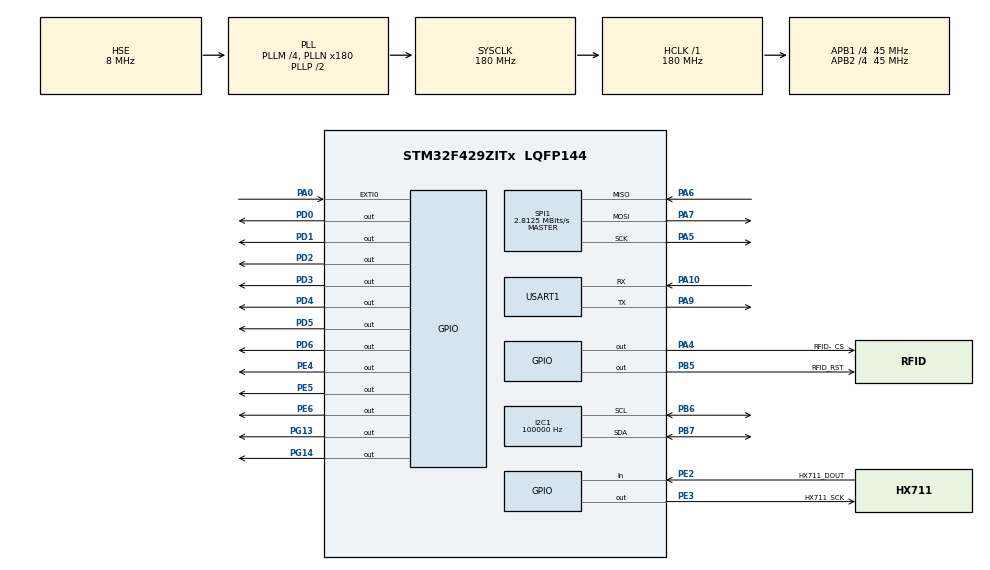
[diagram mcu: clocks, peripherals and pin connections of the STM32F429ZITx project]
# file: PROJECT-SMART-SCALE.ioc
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I2C1.ClockSpeed=100000
I2C1.I2C_Mode=I2C_Fast
Mcu.Family=STM32F4
Mcu.Name=STM32F429ZITx
Mcu.Package=LQFP144
NVIC.PriorityGroup=NVIC_PRIORITYGROUP_4
NVIC.TIM6_DAC_IRQn=true\:0\:0\:false\:false\:true\:true\:true\:true
PA0/WKUP.Signal=GPXTI0
PA10.Mode=Asynchronous
PA10.Signal=USART1_RX
PA4.GPIO_Label=RFID-_CS
PA4.GPIO_Speed=GPIO_SPEED_FREQ_HIGH
PA4.PinState=GPIO_PIN_SET
PA4.Signal=GPIO_Output
PA5.Mode=Full_Duplex_Master
PA5.Signal=SPI1_SCK
PA6.Mode=Full_Duplex_Master
PA6.Signal=SPI1_MISO
PA7.Mode=Full_Duplex_Master
PA7.Signal=SPI1_MOSI
PA9.Mode=Asynchronous
PA9.Signal=USART1_TX
PB5.GPIO_Label=RFID_RST
PB5.PinState=GPIO_PIN_SET
PB5.Signal=GPIO_Output
PB6.GPIO_Pu=GPIO_PULLUP
PB6.Mode=I2C
PB6.Signal=I2C1_SCL
PB7.GPIO_Pu=GPIO_PULLUP
PB7.Mode=I2C
PB7.Signal=I2C1_SDA
PD0.GPIO_Speed=GPIO_SPEED_FREQ_HIGH
PD0.Signal=GPIO_Output
PD1.GPIO_Speed=GPIO_SPEED_FREQ_HIGH
PD1.Signal=GPIO_Output
PD2.GPIO_Speed=GPIO_SPEED_FREQ_HIGH
PD2.Signal=GPIO_Output
PD3.GPIO_Speed=GPIO_SPEED_FREQ_HIGH
PD3.Signal=GPIO_Output
PD4.GPIO_Speed=GPIO_SPEED_FREQ_HIGH
PD4.Signal=GPIO_Output
PD5.GPIO_Speed=GPIO_SPEED_FREQ_HIGH
PD5.Signal=GPIO_Output
PD6.GPIO_Speed=GPIO_SPEED_FREQ_HIGH
PD6.Signal=GPIO_Output
PE2.GPIO_Label=HX711_DOUT
PE2.Signal=GPIO_Input
PE3.GPIO_Label=HX711_SCK
PE3.Signal=GPIO_Output
PE4.GPIO_Speed=GPIO_SPEED_FREQ_HIGH
PE4.Signal=GPIO_Output
PE5.GPIO_Speed=GPIO_SPEED_FREQ_HIGH
PE5.Signal=GPIO_Output
PE6.Signal=GPIO_Output
PG13.Signal=GPIO_Output
PG14.Signal=GPIO_Output
PH0/OSC_IN.Mode=HSE-External-Oscillator
PH0/OSC_IN.Signal=RCC_OSC_IN
PH1/OSC_OUT.Mode=HSE-External-Oscillator
PH1/OSC_OUT.Signal=RCC_OSC_OUT
ProjectManager.HeapSize=0x200
ProjectManager.StackSize=0x400
ProjectManager.TargetToolchain=STM32CubeIDE
RCC.48MHZClocksFreq_Value=90000000
RCC.AHBFreq_Value=180000000
RCC.APB1CLKDivider=RCC_HCLK_DIV4
RCC.APB1Freq_Value=45000000
RCC.APB1TimFreq_Value=90000000
RCC.APB2CLKDivider=RCC_HCLK_DIV4
RCC.APB2Freq_Value=45000000
RCC.APB2TimFreq_Value=90000000
RCC.CortexFreq_Value=180000000
RCC.HCLKFreq_Value=180000000
RCC.HSE_VALUE=8000000
RCC.HSI_VALUE=16000000
RCC.LSE_VALUE=32768
RCC.PLLM=4
RCC.PLLN=180
RCC.PLLSourceVirtual=RCC_PLLSOURCE_HSE
RCC.SYSCLKFreq_VALUE=180000000
RCC.SYSCLKSource=RCC_SYSCLKSOURCE_PLLCLK
RCC.VCOOutputFreq_Value=360000000
SPI1.BaudRatePrescaler=SPI_BAUDRATEPRESCALER_16
SPI1.CalculateBaudRate=2.8125 MBits/s
SPI1.Direction=SPI_DIRECTION_2LINES
SPI1.Mode=SPI_MODE_MASTER
SPI1.VirtualType=VM_MASTER
TIM6.Period=999
TIM6.Prescaler=179
USART1.VirtualMode=VM_ASYNC
VP_TIM6_VS_ClockSourceINT.Mode=Enable_Timer
board=custom

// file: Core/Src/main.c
/* USER CODE BEGIN Header */
/**
 ******************************************************************************
 * @file           : main.c
 * @brief          : Smart Scale System with RFID, RTC, and 2x 5161BS LED Displays
 ******************************************************************************
 */
/* USER CODE END Header */
#include "main.h"

/* USER CODE BEGIN Includes */
#include <stdio.h>
#include <string.h>
#include <math.h>
#include "SSD1306.h"
#include "ds1307.h"
#include "eeprom.h"
#include "7seg.h"
#include "user.h"
#include "history.h"
// #include "7seg.h"
/* USER CODE END Includes */

/* USER CODE BEGIN PD */
#define DS3231_ADDRESS (0xD0)
#define HX711_SCALE 109652.0f
#define MAX_LEN 16 // Định nghĩa kích thước đệm cho RFID

// Lệnh điều khiển RFID RC522 thông qua thanh ghi cơ bản
#define PCD_IDLE 0x00
#define PCD_AUTHENT 0x0E
#define PCD_TRANSCEIVE 0x0C
#define PICC_REQIDL 0x26
#define PICC_ANTICOLL 0x93
#define CommandReg 0x01
#define FIFODataReg 0x09
#define FIFOLengthReg 0x0A
#define BitFramingReg 0x0D
#define SEND_HISTORY 3

/* USER CODE END PD */

I2C_HandleTypeDef hi2c1;

SPI_HandleTypeDef hspi1;

TIM_HandleTypeDef htim6;

UART_HandleTypeDef huart1;

/* USER CODE BEGIN PV */
// Biến lưu trữ trạng thái cân nặng
// Biến toàn cục cho Cân điện tử
float current_weight = 0.0f;
float final_stable_weight = 0.0f;
float last_weight = 0.0f;
int32_t sample_offset = 0;
int32_t current_raw_val = 0;
uint8_t stable_count = 0;

// Biến lưu thông tin thẻ RFID
uint8_t card_uid[5];
volatile uint8_t is_card_detected = 0;
volatile uint32_t last_card_detect_time = 0;

// Biến lưu trữ thời gian từ RTC
uint8_t rtc_seconds, rtc_minutes, rtc_hours;
uint8_t rtc_day, rtc_date, rtc_month, rtc_year;

// Buffer truyền UART
char uart_tx_buffer[256];

// Mảng mã LED 7 đoạn cho Anode chung
uint8_t LED_CA_CODE[] = {
    0xC0, // 0
    0xF9, // 1
    0xA4, // 2
    0xB0, // 3
    0x99, // 4
    0x92, // 5
    0x82, // 6
    0xF8, // 7
    0x80, // 8
    0x90  // 9
};
// Mảng lưu dữ liệu hiển thị hiện tại cho 2 LED (mặc định tắt - 0xFF)
uint8_t display_digits[2] = {0xFF, 0xFF};

UserProfile_t users[MAX_USER];

volatile int8_t history_index = -1; // -1: Weighing Mode, 0-4: Index of history item
uint32_t history_view_start_time = 0; // Track auto-timeout
#define HISTORY_VIEW_TIMEOUT_MS 8000 // 8 seconds timeout
volatile uint8_t g_button_pressed_flag = 0; // Button press flag set by EXTI
/* USER CODE END PV */

void SystemClock_Config(void);
static void MX_GPIO_Init(void);
static void MX_I2C1_Init(void);
static void MX_SPI1_Init(void);
static void MX_USART1_UART_Init(void);
static void MX_TIM6_Init(void);
/* USER CODE BEGIN PFP */

void Send_Card_ID_To_PC(uint8_t *uid);
// Các hàm Driver HX711
int32_t HX711_Read(void);
void HX711_Tare(void);
float HX711_GetWeight(void);

// Các hàm xử lý thời gian RTC DS3231
uint8_t BCD_To_Decimal(uint8_t val);
void DS3231_ReadTime(void);

// Các hàm cơ bản giao tiếp RFID RC522 qua HAL SPI
void RC522_WriteReg(uint8_t reg, uint8_t val);
uint8_t RC522_ReadReg(uint8_t reg);
uint8_t RC522_ToCard(uint8_t command, uint8_t *sendData, uint8_t sendLen, uint8_t *backData, uint32_t *backLen);
uint8_t RC522_CheckCard(uint8_t *id);
void RC522_Init(void);

// Hàm gửi dữ liệu đóng gói dạng JSON lên Máy tính
void Send_Data_To_PC(float weight);

// Các hàm cập nhật và Quét hiển thị LED 7 đoạn
void Update_LED_Buffer(float weight);
void LED_Scan_Routine(void);
void Display_Data_On_OLED(float weight, uint8_t *uid);
void Send_History_To_PC(uint8_t *uid, float latest_weight);
void Read_History(LogEntry_t *logs, uint8_t number);
int Find_User(uint8_t *uid);

void Add_History(int user_id,float weight);

void Send_History_To_PC(uint8_t *uid,float weight);
void Display_Single_History_On_OLED(int user_id, int8_t hist_index, uint8_t total_count);
void Add_Global_History(float weight, TimeStamp_t ts);
/* USER CODE END PFP */

int main(void)
{

  /* MCU Configuration--------------------------------------------------------*/

  /* Reset of all peripherals, Initializes the Flash interface and the Systick. */
  HAL_Init();

  /* Configure the system clock */
  SystemClock_Config();

  /* Initialize all configured peripherals */
  MX_GPIO_Init();
  MX_I2C1_Init();
  MX_SPI1_Init();
  MX_USART1_UART_Init();
  MX_TIM6_Init();
  /* USER CODE BEGIN 2 */
    HAL_TIM_Base_Start_IT(&htim6);
    // Quét I2C Bus để kiểm tra thiết bị kết nối
    for (uint8_t i = 1; i < 127; i++)
    {
        if (HAL_I2C_IsDeviceReady(&hi2c1, i << 1, 1, 10) == HAL_OK)
        {
            char msg[32];
            sprintf(msg, "I2C Found: 0x%02X\r\n", i);
            HAL_UART_Transmit(&huart1, (uint8_t *)msg, strlen(msg), 100);
        }
    }
    // Cập nhật đúng thời gian thực hiện tại: 20/07/2026, 19:02:00
    // LƯU Ý: Sau khi nạp code lần đầu để cài giờ thành công, hãy comment dòng DS1307_SetTime bên dưới
    // và nạp lại để tránh RTC bị reset về thời điểm này mỗi khi mất nguồn/khởi động lại.
    DS1307_Time now = {0, 2, 19, 2, 20, 7, 26};
    //DS1307_SetTime(&now);
    // Khởi tạo Màn hình OLED
    SSD1306_Init();

    // Khởi tạo thẻ RFID RC522
    RC522_Init();

    // (Đã gộp I2C scanner vào phần trên, xóa vòng lặp trùng lặp ở đây)

    // Khởi tạo và format EEPROM nếu đây là lần khởi động đầu tiên
    EEPROM_Init();

    // Đợi mạch ổn định rồi mới lấy mẫu Tare (Zero)
    HAL_Delay(2000);
    HX711_Tare();

  /* USER CODE END 2 */

  /* Infinite loop */
  /* USER CODE BEGIN WHILE */
    uint32_t last_update = 0;

    while (1)
    {
        // 1. KIỂM TRA CỜ HIỆU NÚT NHẤN (Được bật lên từ ngắt EXTI0)
        if (g_button_pressed_flag == 1)
        {
            g_button_pressed_flag = 0; // Reset cờ ngay lập tức

            if (is_card_detected == 0)
            {
                // Nếu chưa quét thẻ, nhấn nút sẽ thực hiện Tare (Trừ bì / Reset về 0)
                SSD1306_Clear();
                SSD1306_GotoXY(0, 0);
                SSD1306_Puts("--- TARE ZERO ---", &Font_7x10, SSD1306_COLOR_WHITE);
                SSD1306_GotoXY(0, 24);
                SSD1306_Puts("Dang Reset 0...", &Font_7x10, SSD1306_COLOR_WHITE);
                SSD1306_UpdateScreen();

                HX711_Tare();

                SSD1306_Clear();
                SSD1306_GotoXY(0, 0);
                SSD1306_Puts("--- TARE ZERO ---", &Font_7x10, SSD1306_COLOR_WHITE);
                SSD1306_GotoXY(0, 24);
                SSD1306_Puts("Da ve 0.00 kg!", &Font_7x10, SSD1306_COLOR_WHITE);
                SSD1306_UpdateScreen();
                HAL_Delay(1000);

                // Quay về màn hình cân
                history_index = -1;
                Display_Data_On_OLED(current_weight, card_uid);
            }
            else
            {
                char dbg[128];
                HAL_UART_Transmit(&huart1, (uint8_t *)dbg, strlen(dbg), 100);

                for (int i = 0; i < MAX_USER; i++)
                {
                    UserProfile_t u;
                    EEPROM_Read(USER_ADDR(i), (uint8_t*)&u, sizeof(UserProfile_t));
                    HAL_UART_Transmit(&huart1, (uint8_t *)dbg, strlen(dbg), 100);
                }

                int user_id = Find_User(card_uid);
                if (user_id >= 0)
                {
                    UserProfile_t user;
                    EEPROM_Read(USER_ADDR(user_id), (uint8_t*)&user, sizeof(UserProfile_t));

                    uint8_t count = user.count;
                    if (count == 0)
                    {
                        // Hiển thị thông báo chưa có dữ liệu cho user này
                        SSD1306_Clear();
                        SSD1306_GotoXY(0, 0);
                        SSD1306_Puts("--- LICH SU ---", &Font_7x10, SSD1306_COLOR_WHITE);
                        SSD1306_GotoXY(0, 24);
                        SSD1306_Puts("Chua co du lieu!", &Font_7x10, SSD1306_COLOR_WHITE);
                        SSD1306_UpdateScreen();
                        HAL_Delay(1500);

                        // Quay về màn hình cân
                        history_index = -1;
                        Display_Data_On_OLED(current_weight, card_uid);
                    }
                    else
                    {
                        // Chuyển tuần tự qua các bản ghi lịch sử của user
                        history_index++;
                        if (history_index >= count)
                        {
                            history_index = -1; // Quay lại màn hình cân
                        }

                        if (history_index == -1)
                        {
                            Display_Data_On_OLED(current_weight, card_uid);
                        }
                        else
                        {
                            history_view_start_time = HAL_GetTick(); // Ghi nhận mốc thời gian xem
                            Display_Single_History_On_OLED(user_id, history_index, count);
                        }
                    }
                }
                else
                {
                    // Thẻ không hợp lệ / không tìm thấy trong bộ nhớ
                    SSD1306_Clear();
                    SSD1306_GotoXY(0, 0);
                    SSD1306_Puts("--- LICH SU ---", &Font_7x10, SSD1306_COLOR_WHITE);
                    SSD1306_GotoXY(0, 24);
                    SSD1306_Puts("The ko hop le!", &Font_7x10, SSD1306_COLOR_WHITE);
                    SSD1306_UpdateScreen();
                    HAL_Delay(1500);

                    history_index = -1;
                    Display_Data_On_OLED(current_weight, card_uid);
                }
            }
        }

        // 2. TỰ ĐỘNG QUAY VỀ MÀN HÌNH CÂN SAU KHI HẾT TIMEOUT XEM LỊCH SỬ (8 giây)
        if (history_index != -1 && (HAL_GetTick() - history_view_start_time >= HISTORY_VIEW_TIMEOUT_MS))
        {
            history_index = -1;
            Display_Data_On_OLED(current_weight, card_uid);
        }

        // 3. CẬP NHẬT CÂN, LED, OLED ĐỊNH KỲ 1 GIÂY (Chỉ cập nhật OLED nếu đang ở màn hình cân)
        if(HAL_GetTick()-last_update>=1000)
        {
            last_update=HAL_GetTick();

            float raw_weight = HX711_GetWeight();

            // Bộ lọc số mũ EMA công nghiệp để chống rung cơ khí và nhảy số biên
            static float filtered_weight = 0.0f;
            float diff = raw_weight - filtered_weight;
            if (diff < 0) diff = -diff;

            if (diff > 0.05f) // Có thay đổi lớn (trên 50g) -> Cập nhật tức thời
            {
                filtered_weight = raw_weight;
            }
            else // Dao động nhỏ (nhiễu/rung) -> Lọc số mũ mượt mà
            {
                filtered_weight = 0.1f * raw_weight + 0.9f * filtered_weight;
            }

            current_weight = filtered_weight;

            // In ra debug cổng serial để kiểm tra cảm biến lực HX711 hoạt động thế nào
            char dbg_hx[64];
            int w_int = (int)current_weight;
            int w_frac = (int)((current_weight - w_int) * 100);
            if (w_frac < 0) w_frac = -w_frac;

            HAL_UART_Transmit(&huart1, (uint8_t *)dbg_hx, strlen(dbg_hx), 100);

            Update_LED_Buffer(current_weight);

            if (history_index == -1)
            {
                Display_Data_On_OLED(current_weight,card_uid);
            }
        }

        // 4. --- PHẦN ĐỌC THẺ RFID ---

        uint8_t temp_uid[5];
        if(RC522_CheckCard(temp_uid)==0)
        {
            memcpy(card_uid, temp_uid, 4);
            is_card_detected = 1;
            history_index = -1; // Quay về màn hình cân khi phát hiện thẻ mới

            int user_id;

            user_id = Find_User(card_uid);

            if(user_id <0)
            {
                user_id = Create_User(card_uid);
            }

            // Đọc cân nặng ngay lập tức khi quét thẻ
            current_weight = HX711_GetWeight();

            Add_History(
                user_id,
                current_weight
            );

            Send_History_To_PC(
                    card_uid,
                    current_weight
            );

            // Cập nhật hiển thị lên OLED ngay lập tức
            Display_Data_On_OLED(current_weight, card_uid);

            // Ghi nhận mốc thời gian bắt đầu đếm ngược 5 giây SAU KHI đã cân xong và hiển thị
            last_card_detect_time = HAL_GetTick();

            char dbg_scan[64];
            HAL_UART_Transmit(&huart1, (uint8_t *)dbg_scan, strlen(dbg_scan), 100);
        }

        // Tự động xóa trạng thái nhận thẻ sau 10 giây để OLED quay lại hiện "No Card"
        if (history_index == -1 && is_card_detected && (HAL_GetTick() - last_card_detect_time >= 10000))
        {
            char dbg_timeout[64];
            HAL_UART_Transmit(&huart1, (uint8_t *)dbg_timeout, strlen(dbg_timeout), 100);

            is_card_detected = 0;
            Display_Data_On_OLED(current_weight, card_uid);
        }
    }
    /* USER CODE END WHILE */

}

void SystemClock_Config(void)
{
  RCC_OscInitTypeDef RCC_OscInitStruct = {0};
  RCC_ClkInitTypeDef RCC_ClkInitStruct = {0};

  /** Configure the main internal regulator output voltage
  */
  __HAL_RCC_PWR_CLK_ENABLE();
  __HAL_PWR_VOLTAGESCALING_CONFIG(PWR_REGULATOR_VOLTAGE_SCALE1);

  /** Initializes the RCC Oscillators according to the specified parameters
  * in the RCC_OscInitTypeDef structure.
  */
  RCC_OscInitStruct.OscillatorType = RCC_OSCILLATORTYPE_HSE;
  RCC_OscInitStruct.HSEState = RCC_HSE_ON;
  RCC_OscInitStruct.PLL.PLLState = RCC_PLL_ON;
  RCC_OscInitStruct.PLL.PLLSource = RCC_PLLSOURCE_HSE;
  RCC_OscInitStruct.PLL.PLLM = 4;
  RCC_OscInitStruct.PLL.PLLN = 180;
  RCC_OscInitStruct.PLL.PLLP = RCC_PLLP_DIV2;
  RCC_OscInitStruct.PLL.PLLQ = 4;
  if (HAL_RCC_OscConfig(&RCC_OscInitStruct) != HAL_OK)
  {
    Error_Handler();
  }

  /** Activate the Over-Drive mode
  */
  if (HAL_PWREx_EnableOverDrive() != HAL_OK)
  {
    Error_Handler();
  }

  /** Initializes the CPU, AHB and APB buses clocks
  */
  RCC_ClkInitStruct.ClockType = RCC_CLOCKTYPE_HCLK|RCC_CLOCKTYPE_SYSCLK
                              |RCC_CLOCKTYPE_PCLK1|RCC_CLOCKTYPE_PCLK2;
  RCC_ClkInitStruct.SYSCLKSource = RCC_SYSCLKSOURCE_PLLCLK;
  RCC_ClkInitStruct.AHBCLKDivider = RCC_SYSCLK_DIV1;
  RCC_ClkInitStruct.APB1CLKDivider = RCC_HCLK_DIV4;
  RCC_ClkInitStruct.APB2CLKDivider = RCC_HCLK_DIV4;

  if (HAL_RCC_ClockConfig(&RCC_ClkInitStruct, FLASH_LATENCY_5) != HAL_OK)
  {
    Error_Handler();
  }
}

static void MX_I2C1_Init(void)
{

  hi2c1.Instance = I2C1;
  hi2c1.Init.ClockSpeed = 100000;
  hi2c1.Init.DutyCycle = I2C_DUTYCYCLE_2;
  hi2c1.Init.OwnAddress1 = 0;
  hi2c1.Init.AddressingMode = I2C_ADDRESSINGMODE_7BIT;
  hi2c1.Init.DualAddressMode = I2C_DUALADDRESS_DISABLE;
  hi2c1.Init.OwnAddress2 = 0;
  hi2c1.Init.GeneralCallMode = I2C_GENERALCALL_DISABLE;
  hi2c1.Init.NoStretchMode = I2C_NOSTRETCH_DISABLE;
  if (HAL_I2C_Init(&hi2c1) != HAL_OK)
  {
    Error_Handler();
  }

  /** Configure Analogue filter
  */
  if (HAL_I2CEx_ConfigAnalogFilter(&hi2c1, I2C_ANALOGFILTER_ENABLE) != HAL_OK)
  {
    Error_Handler();
  }

  /** Configure Digital filter
  */
  if (HAL_I2CEx_ConfigDigitalFilter(&hi2c1, 0) != HAL_OK)
  {
    Error_Handler();
  }

}

static void MX_SPI1_Init(void)
{

  /* SPI1 parameter configuration*/
  hspi1.Instance = SPI1;
  hspi1.Init.Mode = SPI_MODE_MASTER;
  hspi1.Init.Direction = SPI_DIRECTION_2LINES;
  hspi1.Init.DataSize = SPI_DATASIZE_8BIT;
  hspi1.Init.CLKPolarity = SPI_POLARITY_LOW;
  hspi1.Init.CLKPhase = SPI_PHASE_1EDGE;
  hspi1.Init.NSS = SPI_NSS_SOFT;
  hspi1.Init.BaudRatePrescaler = SPI_BAUDRATEPRESCALER_16;
  hspi1.Init.FirstBit = SPI_FIRSTBIT_MSB;
  hspi1.Init.TIMode = SPI_TIMODE_DISABLE;
  hspi1.Init.CRCCalculation = SPI_CRCCALCULATION_DISABLE;
  hspi1.Init.CRCPolynomial = 10;
  if (HAL_SPI_Init(&hspi1) != HAL_OK)
  {
    Error_Handler();
  }

}

static void MX_TIM6_Init(void)
{

  TIM_MasterConfigTypeDef sMasterConfig = {0};

  htim6.Instance = TIM6;
  htim6.Init.Prescaler = 179;
  htim6.Init.CounterMode = TIM_COUNTERMODE_UP;
  htim6.Init.Period = 999;
  htim6.Init.AutoReloadPreload = TIM_AUTORELOAD_PRELOAD_DISABLE;
  if (HAL_TIM_Base_Init(&htim6) != HAL_OK)
  {
    Error_Handler();
  }
  sMasterConfig.MasterOutputTrigger = TIM_TRGO_RESET;
  sMasterConfig.MasterSlaveMode = TIM_MASTERSLAVEMODE_DISABLE;
  if (HAL_TIMEx_MasterConfigSynchronization(&htim6, &sMasterConfig) != HAL_OK)
  {
    Error_Handler();
  }

}

static void MX_USART1_UART_Init(void)
{

  huart1.Instance = USART1;
  huart1.Init.BaudRate = 115200;
  huart1.Init.WordLength = UART_WORDLENGTH_8B;
  huart1.Init.StopBits = UART_STOPBITS_1;
  huart1.Init.Parity = UART_PARITY_NONE;
  huart1.Init.Mode = UART_MODE_TX_RX;
  huart1.Init.HwFlowCtl = UART_HWCONTROL_NONE;
  huart1.Init.OverSampling = UART_OVERSAMPLING_16;
  if (HAL_UART_Init(&huart1) != HAL_OK)
  {
    Error_Handler();
  }

}

static void MX_GPIO_Init(void)
{
  GPIO_InitTypeDef GPIO_InitStruct = {0};
  /* USER CODE BEGIN MX_GPIO_Init_1 */

    GPIO_InitStruct.Pin = GPIO_PIN_2;
    GPIO_InitStruct.Mode = GPIO_MODE_INPUT;
    GPIO_InitStruct.Pull = GPIO_PULLUP;
    HAL_GPIO_Init(GPIOE, &GPIO_InitStruct);

    GPIO_InitStruct.Pin = GPIO_PIN_3;
    GPIO_InitStruct.Mode = GPIO_MODE_OUTPUT_PP;
    GPIO_InitStruct.Speed = GPIO_SPEED_FREQ_LOW;
    HAL_GPIO_Init(GPIOE, &GPIO_InitStruct);

    /* Đảm bảo PA4 là GPIO Output thuần túy */
    GPIO_InitStruct.Pin = GPIO_PIN_4;
    GPIO_InitStruct.Mode = GPIO_MODE_OUTPUT_PP;
    GPIO_InitStruct.Pull = GPIO_NOPULL;
    GPIO_InitStruct.Speed = GPIO_SPEED_FREQ_HIGH;
    HAL_GPIO_Init(GPIOA, &GPIO_InitStruct);
    HAL_GPIO_WritePin(GPIOA, GPIO_PIN_4, GPIO_PIN_SET); // Mặc định CS ở mức CAO (không chọn chip)

  /* USER CODE END MX_GPIO_Init_1 */

  /* GPIO Ports Clock Enable */
  __HAL_RCC_GPIOE_CLK_ENABLE();
  __HAL_RCC_GPIOH_CLK_ENABLE();
  __HAL_RCC_GPIOA_CLK_ENABLE();
  __HAL_RCC_GPIOD_CLK_ENABLE();
  __HAL_RCC_GPIOG_CLK_ENABLE();
  __HAL_RCC_GPIOB_CLK_ENABLE();

  /*Configure GPIO pin Output Level */
  HAL_GPIO_WritePin(GPIOE, HX711_SCK_Pin|GPIO_PIN_4|GPIO_PIN_5|GPIO_PIN_6, GPIO_PIN_RESET);

  /*Configure GPIO pin Output Level */
  HAL_GPIO_WritePin(RFID__CS_GPIO_Port, RFID__CS_Pin, GPIO_PIN_SET);

  /*Configure GPIO pin Output Level */
  HAL_GPIO_WritePin(GPIOD, GPIO_PIN_0|GPIO_PIN_1|GPIO_PIN_2|GPIO_PIN_3
                          |GPIO_PIN_4|GPIO_PIN_5|GPIO_PIN_6, GPIO_PIN_RESET);

  /*Configure GPIO pin Output Level */
  HAL_GPIO_WritePin(GPIOG, GPIO_PIN_13|GPIO_PIN_14, GPIO_PIN_RESET);

  /*Configure GPIO pin Output Level */
  HAL_GPIO_WritePin(RFID_RST_GPIO_Port, RFID_RST_Pin, GPIO_PIN_SET);

  /*Configure GPIO pin : HX711_DOUT_Pin */
  GPIO_InitStruct.Pin = HX711_DOUT_Pin;
  GPIO_InitStruct.Mode = GPIO_MODE_INPUT;
  GPIO_InitStruct.Pull = GPIO_NOPULL;
  HAL_GPIO_Init(HX711_DOUT_GPIO_Port, &GPIO_InitStruct);

  /*Configure GPIO pins : HX711_SCK_Pin PE6 */
  GPIO_InitStruct.Pin = HX711_SCK_Pin|GPIO_PIN_6;
  GPIO_InitStruct.Mode = GPIO_MODE_OUTPUT_PP;
  GPIO_InitStruct.Pull = GPIO_NOPULL;
  GPIO_InitStruct.Speed = GPIO_SPEED_FREQ_LOW;
  HAL_GPIO_Init(GPIOE, &GPIO_InitStruct);

  /*Configure GPIO pins : PE4 PE5 */
  GPIO_InitStruct.Pin = GPIO_PIN_4|GPIO_PIN_5;
  GPIO_InitStruct.Mode = GPIO_MODE_OUTPUT_PP;
  GPIO_InitStruct.Pull = GPIO_NOPULL;
  GPIO_InitStruct.Speed = GPIO_SPEED_FREQ_HIGH;
  HAL_GPIO_Init(GPIOE, &GPIO_InitStruct);

  /*Configure GPIO pin : PA0 */
  GPIO_InitStruct.Pin = GPIO_PIN_0;
  GPIO_InitStruct.Mode = GPIO_MODE_IT_RISING;
  GPIO_InitStruct.Pull = GPIO_NOPULL;
  HAL_GPIO_Init(GPIOA, &GPIO_InitStruct);

  /*Configure GPIO pin : RFID__CS_Pin */
  GPIO_InitStruct.Pin = RFID__CS_Pin;
  GPIO_InitStruct.Mode = GPIO_MODE_OUTPUT_PP;
  GPIO_InitStruct.Pull = GPIO_NOPULL;
  GPIO_InitStruct.Speed = GPIO_SPEED_FREQ_HIGH;
  HAL_GPIO_Init(RFID__CS_GPIO_Port, &GPIO_InitStruct);

  /*Configure GPIO pins : PD0 PD1 PD2 PD3
                           PD4 PD5 PD6 */
  GPIO_InitStruct.Pin = GPIO_PIN_0|GPIO_PIN_1|GPIO_PIN_2|GPIO_PIN_3
                          |GPIO_PIN_4|GPIO_PIN_5|GPIO_PIN_6;
  GPIO_InitStruct.Mode = GPIO_MODE_OUTPUT_PP;
  GPIO_InitStruct.Pull = GPIO_NOPULL;
  GPIO_InitStruct.Speed = GPIO_SPEED_FREQ_HIGH;
  HAL_GPIO_Init(GPIOD, &GPIO_InitStruct);

  /*Configure GPIO pins : PG13 PG14 */
  GPIO_InitStruct.Pin = GPIO_PIN_13|GPIO_PIN_14;
  GPIO_InitStruct.Mode = GPIO_MODE_OUTPUT_PP;
  GPIO_InitStruct.Pull = GPIO_NOPULL;
  GPIO_InitStruct.Speed = GPIO_SPEED_FREQ_LOW;
  HAL_GPIO_Init(GPIOG, &GPIO_InitStruct);

  /*Configure GPIO pin : RFID_RST_Pin */
  GPIO_InitStruct.Pin = RFID_RST_Pin;
  GPIO_InitStruct.Mode = GPIO_MODE_OUTPUT_PP;
  GPIO_InitStruct.Pull = GPIO_NOPULL;
  GPIO_InitStruct.Speed = GPIO_SPEED_FREQ_LOW;
  HAL_GPIO_Init(RFID_RST_GPIO_Port, &GPIO_InitStruct);

  /* Cài đặt độ ưu tiên và bật ngắt EXTI Line 0 */
  HAL_NVIC_SetPriority(EXTI0_IRQn, 5, 0);
  HAL_NVIC_EnableIRQ(EXTI0_IRQn);
  /* USER CODE END MX_GPIO_Init_2 */
}

/* USER CODE BEGIN 4 */

// ==========================================
// DRIVER NGOẠI VI 1: CẢM BIẾN TRỌNG LƯỢNG HX711
// ==========================================

int32_t HX711_Read(void)
{
    int32_t data = 0;

    // Đợi chân DOUT xuống LOW (Cảm biến đã sẵn sàng)
    // Cảm biến chạy ở 10SPS cần tối đa 100ms để có dữ liệu mới. Đợi tối đa 150ms.
    uint32_t start_tick = HAL_GetTick();
    while (HAL_GPIO_ReadPin(GPIOE, GPIO_PIN_2) == GPIO_PIN_SET)
    {
        if (HAL_GetTick() - start_tick > 150)
            return 0; // Tránh treo chip khi đứt dây cảm biến
    }

    // TẮT NGẮT (SysTick) ĐỂ BẢO VỆ XUNG SCK CỦA HX711
    // Nếu bị ngắt quá 60us, HX711 sẽ bị Reset/Tắt nguồn gây ra dữ liệu rác!
    __disable_irq();

    for (int i = 0; i < 24; i++)
    {
        HAL_GPIO_WritePin(GPIOE, GPIO_PIN_3, GPIO_PIN_SET);
        for (volatile int d = 0; d < 100; d++)
        {
        } // Tốc độ STM32F429 180MHz quá nhanh! Phải tạo trễ ~1us (> 200ns)

        data = data << 1;
        if (HAL_GPIO_ReadPin(GPIOE, GPIO_PIN_2) == GPIO_PIN_SET)
        {
            data++;
        }

        HAL_GPIO_WritePin(GPIOE, GPIO_PIN_3, GPIO_PIN_RESET);
        for (volatile int d = 0; d < 100; d++)
        {
        } // Trễ 1us cho xung cạnh xuống
    }

    // Xung thứ 25 đặt Gain 128
    HAL_GPIO_WritePin(GPIOE, GPIO_PIN_3, GPIO_PIN_SET);
    for (volatile int d = 0; d < 100; d++)
    {
    }
    HAL_GPIO_WritePin(GPIOE, GPIO_PIN_3, GPIO_PIN_RESET);
    for (volatile int d = 0; d < 100; d++)
    {
    }

    // BẬT LẠI NGẮT
    __enable_irq();

    // Sign extension cho số âm 24-bit
    if (data & 0x00800000)
    {
        data |= 0xFF000000;
    }
    return data;
}

void HX711_Tare(void)
{
    // 1. Đọc bỏ (vứt đi) 5 mẫu đầu tiên vì khi HX711 vừa bật lên,
    // các tín hiệu đầu tiên thường chưa ổn định hoặc bị lưu rác (stale data).
    for (int i = 0; i < 5; i++)
    {
        HX711_Read();
        HAL_Delay(10);
    }

    // 2. Lấy trung bình 15 mẫu tiếp theo làm mốc số 0 (Zero/Tare)
    int64_t sum = 0;
    for (int i = 0; i < 15; i++)
    {
        sum += HX711_Read();
        HAL_Delay(10);
    }
    sample_offset = (int32_t)(sum / 15);
}

float HX711_GetWeight(void)
{
    int64_t sum = 0;
    int count = 3; // Đọc 3 mẫu để cập nhật nhanh (300ms)
    for (int i = 0; i < count; i++)
    {
        sum += HX711_Read();
    }
    float raw_val = (float)(sum / count);
    current_raw_val = (int32_t)raw_val; // Lưu lại để in ra debug
    float new_weight = (raw_val - (float)sample_offset) / HX711_SCALE;

    // Tự động bám điểm 0 (Zero Tracking) khi cân trống trong phạm vi 30g
    if (new_weight > -0.03f && new_weight < 0.03f)
    {
        // Nhích nhẹ sample_offset theo bộ lọc thông thấp để triệt tiêu trôi điểm 0
        sample_offset = (int32_t)(0.9f * (float)sample_offset + 0.1f * raw_val);
        new_weight = 0.0f;
    }

    if (new_weight < 0.01f)
    {
        return 0.0f;
    }

    return new_weight;
}

// ==========================================
// DRIVER NGOẠI VI 3: ĐỌC THẺ RFID RC522 (SPI)
// ==========================================

void RC522_WriteReg(uint8_t reg, uint8_t val)
{
    uint8_t buffer[2];
    buffer[0] = (reg << 1) & 0x7E;
    buffer[1] = val;
    HAL_GPIO_WritePin(GPIOA, GPIO_PIN_4, GPIO_PIN_RESET);
    __NOP();

    HAL_SPI_Transmit(&hspi1, buffer, 2, 100);

    __NOP();
    HAL_GPIO_WritePin(GPIOA, GPIO_PIN_4, GPIO_PIN_SET); // Kéo CS lên cao
}

uint8_t RC522_ReadReg(uint8_t reg)
{
    uint8_t tx[2];
    uint8_t rx[2];

    tx[0] = ((reg << 1) & 0x7E) | 0x80;
    tx[1] = 0x00;

    HAL_GPIO_WritePin(GPIOA, GPIO_PIN_4, GPIO_PIN_RESET);
    HAL_SPI_TransmitReceive(&hspi1, tx, rx, 2, 100); // Đổi HAL_MAX_DELAY thành 100ms tránh treo vi điều khiển
    HAL_GPIO_WritePin(GPIOA, GPIO_PIN_4, GPIO_PIN_SET);

    return rx[1];
}

void RC522_Init(void)
{
    HAL_GPIO_WritePin(GPIOB, GPIO_PIN_5, GPIO_PIN_RESET);
    HAL_Delay(100);
    HAL_GPIO_WritePin(GPIOB, GPIO_PIN_5, GPIO_PIN_SET);
    HAL_Delay(200);

    RC522_WriteReg(CommandReg, 0x0F); // soft reset
    HAL_Delay(10);

    // CONFIG TIMER
    RC522_WriteReg(0x2A, 0x8D);
    RC522_WriteReg(0x2B, 0x3E);
    RC522_WriteReg(0x2D, 30);
    RC522_WriteReg(0x2C, 0);

    // RF CONFIG
    RC522_WriteReg(0x14, 0x8D); // TxControl
    RC522_WriteReg(0x11, 0x3D); // Mode
    RC522_WriteReg(0x26, 0x70); // RFCfgReg: Set RxGain to 48dB

    // BẬT ANTEN
    uint8_t val = RC522_ReadReg(0x14);
    RC522_WriteReg(0x14, val | 0x03);

    HAL_Delay(10);

    RC522_WriteReg(CommandReg, 0x0C); // Transmit RF
}

uint8_t RC522_ToCard(uint8_t command, uint8_t *sendData, uint8_t sendLen, uint8_t *backData, uint32_t *backLen)
{
    uint8_t status = 1;
    uint8_t irqEn = 0x00;
    uint8_t waitIRq = 0x00;

    if (command == PCD_TRANSCEIVE)
    {
        irqEn = 0x77;
        waitIRq = 0x30;
    }
    RC522_WriteReg(0x02, irqEn | 0x80);
    RC522_WriteReg(0x04, 0x7F); // Clear all interrupt request bits (ghi 1 để clear)
    RC522_WriteReg(CommandReg, PCD_IDLE);
    RC522_WriteReg(0x0A, 0x80);

    for (int i = 0; i < sendLen; i++)
    {
        RC522_WriteReg(FIFODataReg, sendData[i]);
    }
    RC522_WriteReg(CommandReg, command);
    if (command == PCD_TRANSCEIVE)
    {
        uint8_t set = RC522_ReadReg(BitFramingReg);
        RC522_WriteReg(BitFramingReg, set | 0x80);
    }

    uint32_t index = 2000;
    uint8_t n;
    do
    {
        n = RC522_ReadReg(0x04);
        index--;
    } while ((index != 0) && !(n & 0x01) && !(n & waitIRq));

    uint8_t set2 = RC522_ReadReg(BitFramingReg);
    RC522_WriteReg(BitFramingReg, set2 & (~0x80));

    if (index != 0)
    {
        if (!(RC522_ReadReg(0x06) & 0x1B))
        {
            status = 0;
            if (n & irqEn & 0x01)
                status = 1;
            if (command == PCD_TRANSCEIVE)
            {
                n = RC522_ReadReg(FIFOLengthReg);
                uint8_t lastBits = RC522_ReadReg(0x0C) & 0x07; // 0x0C là ControlReg chứa RxLastBits
                if (lastBits)
                    *backLen = (n - 1) * 8 + lastBits;
                else
                    *backLen = n * 8;
                if (n == 0)
                    n = 1;
                if (n > 16)
                    n = 16;
                for (int i = 0; i < n; i++)
                {
                    backData[i] = RC522_ReadReg(FIFODataReg);
                }
            }
        }
    }
    return status;
}

uint8_t RC522_CheckCard(uint8_t *id)
{
    uint8_t status;
    uint8_t buf[16];
    uint32_t len;

    // 1. WUPA
    RC522_WriteReg(0x15, 0x40);
    RC522_WriteReg(BitFramingReg, 0x07);
    buf[0] = 0x52;
    status = RC522_ToCard(PCD_TRANSCEIVE, buf, 1, buf, &len);
    if (status != 0)
    {
        return 1;
    }

    // 2. ANTICOLLISION
    RC522_WriteReg(BitFramingReg, 0x00);
    for (int i = 0; i < 16; i++)
        buf[i] = 0x00; // Xóa sạch buffer cũ
    buf[0] = 0x93;
    buf[1] = 0x20;
    status = RC522_ToCard(PCD_TRANSCEIVE, buf, 2, buf, &len);
    if (status != 0)
    {
        return 1;
    }

    // Kiểm tra BCC
    uint8_t bcc = 0;
    for (int i = 0; i < 4; i++)
    {
        id[i] = buf[i];
        bcc ^= buf[i];
    }
    if (bcc != buf[4])
    {
        return 1;
    }

    return 0; // Đọc thành công
}

// ==========================================
// TRUYỀN DỮ LIỆU ĐÓNG GÓI CHUẨN JSON VỀ PC
// ==========================================
void Send_History_To_PC(uint8_t *uid, float latest)
{
    char buffer[512];
    LogEntry_t logs[MAX_HISTORY];

    Read_History(logs, SEND_HISTORY);

    // ===== Tách latest weight =====
    int latest_int = (int)latest;
    int latest_dec = (int)((latest - latest_int) * 100);

    if(latest_dec < 0)
        latest_dec = -latest_dec;

    sprintf(buffer,
            "{\r\n"
            "\"uid\":\"%02X%02X%02X%02X\",\r\n"
            "\"latest_weight\":%d.%02d,\r\n"
            "\"history\":[",
            uid[0],
            uid[1],
            uid[2],
            uid[3],
            latest_int,
            latest_dec);

    HAL_UART_Transmit(
        &huart1,
        (uint8_t *)buffer,
        strlen(buffer),
        1000);

    uint8_t count;
    EEPROM_Read(
        COUNT_ADDR,
        &count,
        1);

    if (count == 0xFF)
        count = 0;

    if(count > MAX_HISTORY)
        count = MAX_HISTORY;

    for(int i = 0; i < count; i++)
    {
        // ===== Tách weight lịch sử =====
        int weight_int = (int)logs[i].weight;
        int weight_dec = (int)((logs[i].weight - weight_int) * 100);

        if(weight_dec < 0)
            weight_dec = -weight_dec;

        sprintf(buffer,
                "{\"weight\":%d.%02d,"
                "\"date\":\"%02d/%02d/20%02d\","
                "\"time\":\"%02d:%02d:%02d\"}",
                weight_int,
                weight_dec,
                logs[i].ts.day,
                logs[i].ts.month,
                logs[i].ts.year,
                logs[i].ts.hour,
                logs[i].ts.minute,
                logs[i].ts.second);

        HAL_UART_Transmit(
            &huart1,
            (uint8_t *)buffer,
            strlen(buffer),
            1000);

        if(i < count-1)
        {
            HAL_UART_Transmit(
                &huart1,
                (uint8_t *)",",
                1,
                100);
        }
    }

    sprintf(buffer,
            "]\r\n"
            "}\r\n");

    HAL_UART_Transmit(
        &huart1,
        (uint8_t *)buffer,
        strlen(buffer),
        1000);
}
void Send_Data_To_PC(float weight)
{
    int32_t w_int = (int32_t)weight;
    int32_t w_frac = (int32_t)((weight - (float)w_int) * 100.0f);
    if (w_frac < 0)
        w_frac = -w_frac;
    DS1307_Time rtc;

    DS1307_GetTime(&rtc);

    sprintf(uart_tx_buffer,
            "{\r\n  \"uid\": \"%02X%02X%02X%02X\",\r\n  \"weight\": %ld.%02ld,\r\n }\r\n",
            card_uid[0], card_uid[1], card_uid[2], card_uid[3],
            w_int, w_frac);

    if (is_card_detected == 0)
    {
        sprintf(uart_tx_buffer, "{\r\n  \"uid\": \"00000000\",\r\n  \"weight\": %ld.%02ld,\r\n }\r\n",
                w_int, w_frac);
    }
    else
    {
        sprintf(uart_tx_buffer, "{\r\n  \"uid\": \"%02X%02X%02X%02X\",\r\n  \"weight\": %ld.%02ld,\r\n }\r\n",
                card_uid[0], card_uid[1], card_uid[2], card_uid[3], w_int, w_frac);
    }

    HAL_UART_Transmit(&huart1, (uint8_t *)uart_tx_buffer, strlen(uart_tx_buffer), 1000);
}
void Send_Card_ID_To_PC(uint8_t *uid)
{
    //    sprintf(uart_tx_buffer, "\r\n[INFO] Card Detected! ID: %02X%02X%02X%02X\r\n",
    //            uid[0], uid[1], uid[2], uid[3]);
    //    HAL_UART_Transmit(&huart1, (uint8_t *)uart_tx_buffer, strlen(uart_tx_buffer), 1000);
}
void Read_History(LogEntry_t *logs, uint8_t number)
{
    uint8_t count;
    EEPROM_Read(COUNT_ADDR,&count,1);

    if (count == 0xFF) count = 0;

    uint8_t actual_count = count;

    if(count > MAX_HISTORY)
        count = MAX_HISTORY;

    if(number > count)
        number = count;

    for(int i=0;i<number;i++)
    {
        uint8_t index = (actual_count - 1 - i) % MAX_HISTORY;

        EEPROM_Read(
            START_ADDR + index*sizeof(LogEntry_t),
            (uint8_t*)&logs[i],
            sizeof(LogEntry_t)
        );
    }
}
void Add_History(
        int id,
        float weight)
{
    UserProfile_t user;

    EEPROM_Read(
        USER_ADDR(id),
        (uint8_t*)&user,
        sizeof(user)
    );

    for(int i=MAX_HISTORY-1;i>0;i--)
    {
        user.history[i]=user.history[i-1];
    }

    user.history[0].weight=weight;

    // Đọc thời gian thực từ chip RTC DS1307
    DS1307_Time rtc;
    DS1307_GetTime(&rtc);

    user.history[0].ts.day=rtc.date;
    user.history[0].ts.month=rtc.month;
    user.history[0].ts.year=rtc.year;
    user.history[0].ts.hour=rtc.hour;
    user.history[0].ts.minute=rtc.minute;
    user.history[0].ts.second=rtc.second;

    user.count++;

    if(user.count>MAX_HISTORY)
        user.count=MAX_HISTORY;

    EEPROM_Write(
        USER_ADDR(id),
        (uint8_t*)&user,
        sizeof(user)
    );

    // Ghi đồng thời vào Lịch sử hệ thống (Global History)
    Add_Global_History(weight, user.history[0].ts);
}
void Add_Global_History(float weight, TimeStamp_t ts)
{
    uint8_t count = 0;
    EEPROM_Read(COUNT_ADDR, &count, 1);

    if (count == 0xFF)
    {
        count = 0;
    }

    uint8_t index = count % MAX_HISTORY;

    LogEntry_t log;
    log.weight = weight;
    log.ts = ts;

    EEPROM_Write(
        START_ADDR + index * sizeof(LogEntry_t),
        (uint8_t*)&log,
        sizeof(LogEntry_t)
    );

    count++;
    EEPROM_Write(COUNT_ADDR, &count, 1);
}
void Display_Data_On_OLED(float weight, uint8_t *uid)
{
    char buffer[20];

    SSD1306_Clear();

    // Lời chào
    SSD1306_GotoXY(0, 0);
    // SSD1306_Puts("Xin chao !", &Font_7x10, SSD1306_COLOR_WHITE);

    // Hiển thị Cân Nặng (Tách số thực thành 2 phần nguyên để in, tránh lỗi %f)
    int32_t w_int = (int32_t)weight;
    int32_t w_frac = (int32_t)((weight - (float)w_int) * 100.0f);
    if (w_frac < 0)
        w_frac = -w_frac;

    SSD1306_GotoXY(0, 20);
    sprintf(buffer, "Weight: %ld.%02ld kg", w_int, w_frac);
    SSD1306_Puts(buffer, &Font_7x10, SSD1306_COLOR_WHITE);

    // Hiển thị ID Thẻ RFID và Version (Dùng để chẩn đoán lỗi SPI)
    SSD1306_GotoXY(0, 40);
    if (is_card_detected)
    {
        sprintf(buffer, "ID:%02X%02X%02X%02X", uid[0], uid[1], uid[2], uid[3]);
    }
    else
    {
        sprintf(buffer, "No Card");
    }
    SSD1306_Puts(buffer, &Font_7x10, SSD1306_COLOR_WHITE);

    SSD1306_UpdateScreen();
}
void Display_Single_History_On_OLED(int user_id, int8_t hist_index, uint8_t total_count)
{
    if (total_count == 0)
    {
        SSD1306_Clear();
        SSD1306_GotoXY(0, 0);
        SSD1306_Puts("--- LICH SU ---", &Font_7x10, SSD1306_COLOR_WHITE);
        SSD1306_GotoXY(0, 24);
        SSD1306_Puts("Chua co du lieu!", &Font_7x10, SSD1306_COLOR_WHITE);
        SSD1306_UpdateScreen();
        return;
    }

    UserProfile_t user;
    EEPROM_Read(
        USER_ADDR(user_id),
        (uint8_t*)&user,
        sizeof(UserProfile_t)
    );

    // Lấy trực tiếp từ mảng history đã được dịch chuyển tuần tự trong cấu trúc User
    History_t log = user.history[hist_index];

    SSD1306_Clear();

    // Title
    SSD1306_GotoXY(0, 0);
    char title_buf[25];
    uint8_t display_total = total_count > MAX_HISTORY ? MAX_HISTORY : total_count;
    sprintf(title_buf, "--- LICH SU %d/%d ---", hist_index + 1, display_total);
    SSD1306_Puts(title_buf, &Font_7x10, SSD1306_COLOR_WHITE);

    // Weight line
    int w_int = (int)log.weight;
    int w_frac = (int)((log.weight - w_int) * 100);
    if (w_frac < 0) w_frac = -w_frac;

    char weight_buf[25];
    SSD1306_GotoXY(0, 16);
    sprintf(weight_buf, "W:%d.%02d kg", w_int, w_frac);
    SSD1306_Puts(weight_buf, &Font_11x18, SSD1306_COLOR_WHITE);

    // Timestamp line
    char time_buf[30];
    SSD1306_GotoXY(0, 38);
    sprintf(time_buf, "Time: %02d:%02d:%02d", log.ts.hour, log.ts.minute, log.ts.second);
    SSD1306_Puts(time_buf, &Font_7x10, SSD1306_COLOR_WHITE);

    SSD1306_GotoXY(0, 50);
    sprintf(time_buf, "Date: %02d/%02d/20%02d", log.ts.day, log.ts.month, log.ts.year);
    SSD1306_Puts(time_buf, &Font_7x10, SSD1306_COLOR_WHITE);

    SSD1306_UpdateScreen();
}
// ==========================================
// DRIVER NGOẠI VI 4: QUÉT HÀM HIỂN THỊ 2 LED 5161BS
// ==========================================

// 1. Hàm phân tách dữ liệu cân nặng (Ví dụ: 65.4f -> làm tròn 65 -> LED_chục = 6, LED_đơn_vị = 5)
void Update_LED_Buffer(float weight)
{
    int16_t int_weight = (int16_t)(weight + 0.5f); // Làm tròn số thực về số nguyên gần nhất

    if (int_weight > 99)
        int_weight = 99; // Giới hạn dải đo hiển thị từ 0 - 99 kg
    if (int_weight < 0)
        int_weight = 0;

    uint8_t hang_chuc = int_weight / 10;
    uint8_t hang_don_vi = int_weight % 10;

    // Nạp mã Hex của Anode chung tương ứng vào buffer
    display_digits[0] = LED_CA_CODE[hang_chuc];
    display_digits[1] = LED_CA_CODE[hang_don_vi];
}

// 2. Hàm thực hiện quét LED luân phiên
void LED_Scan_Routine(void)
{
    static uint8_t current_led = 0;

    // 1. Tắt nguồn cấp cho cả 2 con LED (đưa về mức THẤP - 0V)
    HAL_GPIO_WritePin(GPIOE, GPIO_PIN_4, GPIO_PIN_RESET);
    HAL_GPIO_WritePin(GPIOE, GPIO_PIN_5, GPIO_PIN_RESET);

    // 2. Xuất dữ liệu thanh (Port D)
    // Mã đã chuẩn cho Anode chung, không cần đảo bit (~)
    GPIOD->ODR = (GPIOD->ODR & 0xFF00) | (display_digits[current_led]);

    // 3. Kích nguồn (3.3V) cho con LED cần hiển thị
    if (current_led == 0)
    {
        HAL_GPIO_WritePin(GPIOE, GPIO_PIN_4, GPIO_PIN_SET); // Bật hàng chục
    }
    else
    {
        HAL_GPIO_WritePin(GPIOE, GPIO_PIN_5, GPIO_PIN_SET); // Bật hàng đơn vị
    }

    // 4. Luân chuyển giữa 2 LED
    current_led = (current_led == 0) ? 1 : 0;
}
void HAL_TIM_PeriodElapsedCallback(TIM_HandleTypeDef *htim)
{
    if (htim->Instance == TIM6)
    {
        LED_Scan_Routine();
    }
}
void HAL_GPIO_EXTI_Callback(uint16_t GPIO_Pin)
{
    if (GPIO_Pin == GPIO_PIN_0)
    {
        static uint32_t last_press_time = 0;
        uint32_t current_time = HAL_GetTick();

        // Chống rung phím 250ms
        if (current_time - last_press_time > 250)
        {
            g_button_pressed_flag = 1;
            last_press_time = current_time;
        }
    }
}
/* USER CODE END 4 */

void Error_Handler(void)
{
    __disable_irq();
    while (1)
    {
    }
}
